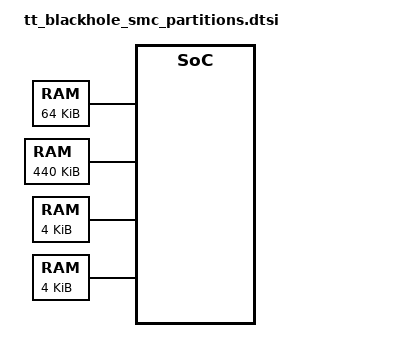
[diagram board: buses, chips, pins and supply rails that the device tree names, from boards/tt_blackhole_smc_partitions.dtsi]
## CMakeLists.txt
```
# SPDX-License-Identifier: Apache-2.0

cmake_minimum_required(VERSION 3.13.1)
find_package(Zephyr REQUIRED HINTS $ENV{ZEPHYR_BASE})

project(app LANGUAGES C)

include(${CMAKE_CURRENT_LIST_DIR}/../../cmake/git_version.cmake)

target_include_directories(app PRIVATE ${ZEPHYR_TT_SYSTEM_FIRMWARE_MODULE_DIR}/lib/tenstorrent/bh_arc)
target_include_directories(app PRIVATE ${CMAKE_BINARY_DIR}/modules/tt-system-firmware/drivers/misc/bh_fwtable/spirom_protobufs)
add_dependencies(app nanopb_generated_headers)
target_sources(app PRIVATE src/main.c)
```

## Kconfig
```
# Copyright (c) 2021 Nordic Semiconductor ASA
# SPDX-License-Identifier: Apache-2.0
#
# This file is the application Kconfig entry point. All application Kconfig
# options can be defined here or included via other application Kconfig files.
# You can browse these options using the west targets menuconfig (terminal) or
# guiconfig (GUI).

menu "Zephyr"
source "Kconfig.zephyr"
endmenu

menu "App"

module = APP
module-str = APP
source "subsys/logging/Kconfig.template.log_config"

endmenu
```

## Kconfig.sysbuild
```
# Copyright (c) 2025 Tenstorrent AI ULC
#
# SPDX-License-Identifier: Apache-2.0

source "share/sysbuild/Kconfig"

config DMC_BOARD
	string "DMC Board"
	default "tt_blackhole@p150a/tt_blackhole/dmc" if $(BOARD_REVISION) = "p150a"
	default "tt_blackhole@p150b/tt_blackhole/dmc" if $(BOARD_REVISION) = "p150b"
	default "tt_blackhole@p150c/tt_blackhole/dmc" if $(BOARD_REVISION) = "p150c"
	default "tt_blackhole@p100a/tt_blackhole/dmc" if $(BOARD_REVISION) = "p100a"
	default "tt_blackhole@p300a/tt_blackhole/dmc" if $(BOARD_REVISION) = "p300a"
	default "tt_blackhole@p300b/tt_blackhole/dmc" if $(BOARD_REVISION) = "p300b"
	default "tt_blackhole@p300c/tt_blackhole/dmc" if $(BOARD_REVISION) = "p300c"
	default "tt_blackhole@orion_slt/tt_blackhole/dmc" if $(BOARD_REVISION) = "orion_slt"
```

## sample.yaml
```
sample:
  description: Tenstorrent Blackhole Chip Management Firmware
  name: bh-cmfw
common:
  timeout: 180
  platform_allow:
    - tt_blackhole@p100a/tt_blackhole/smc
    - tt_blackhole@p150a/tt_blackhole/smc
    - tt_blackhole@p300a/tt_blackhole/smc
tests:
  app.default: {}
  app.e2e-smoke-flash:
    tags: e2e-flash
    timeout: 720 # 12 minutes
    harness: pytest
    sysbuild: true
    harness_config:
      pytest_root:
        - pytest/e2e_smoke.py
      pytest_args:
        - "--dut-scope=session"
    extra_args:
      - dmc_CONFIG_DMC_RUN_SMBUS_TESTS=y
  app.recovery:
    build_only: true
    extra_overlay_confs:
      - sysbuild/recovery.conf
  app.recovery-flash:
    sysbuild: true
    tags: recovery
    harness: pytest
    harness_config:
      pytest_root:
        - pytest/recovery.py
      pytest_args:
        - "--dut-scope=session"
  app.vuart-bh-1x:
    tags: e2e
    depends_on: bh_1x
    harness: pytest
    harness_config:
      pytest_root:
        - pytest/vuart.py
      pytest_args:
        - "--dut-scope=session"
  app.vuart-bh-2x:
    tags: e2e
    depends_on: bh_2x
    harness: pytest
    harness_config:
      pytest_root:
        - pytest/vuart.py
      pytest_args:
        - "--dut-scope=session"
        - "--asic-id=1"
  app.stress-test:
    # Budget 3 hours for stress testing. Any more and we should consider reducing test coverage
    # nightly, as CI machines might not be available for PR efforts
    timeout: 10800
    tags: e2e-stress
    platform_allow:
      - tt_blackhole@p100a/tt_blackhole/smc
      - tt_blackhole@p150a/tt_blackhole/smc
      - tt_blackhole@p150b/tt_blackhole/smc
      - tt_blackhole@p300a/tt_blackhole/smc
      - tt_blackhole@galaxy/tt_blackhole/smc
    harness: pytest
    sysbuild: true
    extra_args:
      - dmc_CONFIG_DMC_RUN_SMBUS_TESTS=y
    harness_config:
      pytest_root:
        - pytest/e2e_stress.py
      pytest_args:
        - "--dut-scope=session"
      record:
        regex:
          - >-
            INFO: (?P<test_name>.*) completed.
            Failed (?P<fail_count>\d+)/(?P<total_tries>\d+) times.
  # Runs production firmware tests when compiled with CONFIG_ASSERT=y
  app.e2e-prod-assert:
    tags: e2e-stress
    timeout: 720 # 12 minutes
    harness: pytest
    sysbuild: true
    harness_config:
      pytest_root:
        - pytest/e2e_smoke.py
      pytest_args:
        - "--dut-scope=session"
    extra_args:
      - dmc_CONFIG_DMC_RUN_SMBUS_TESTS=y
      - CONFIG_ASSERT=y
  app.tracing:
    build_only: true
    sysbuild: true
    tags:
      - e2e-flash
      - build-ci
    extra_overlay_confs:
      - tracing.conf
    extra_args:
      - EXTRA_DTC_OVERLAY_FILE=tracing.overlay
  app.tt_shell:
    build_only: true
    sysbuild: false
    tags:
      - build-ci
    extra_configs:
      - CONFIG_SHELL=y
```

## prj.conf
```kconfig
# logging
CONFIG_LOG=y
CONFIG_TT_APP_LOG_LEVEL_INF=y

CONFIG_ARC_USE_UNALIGNED_MEM_ACCESS=y
CONFIG_HW_STACK_PROTECTION=n
CONFIG_SYS_CLOCK_TICKS_PER_SEC=100000
CONFIG_TICKLESS_KERNEL=y

# I2C
CONFIG_MULTI_LEVEL_INTERRUPTS=y
CONFIG_I2C_DW=y
CONFIG_I2C=y
CONFIG_I2C_TARGET=y
CONFIG_SMBUS=y
CONFIG_SMBUS_TARGET=y

# PVT sensor driver
CONFIG_SENSOR=y
CONFIG_RTIO=y
CONFIG_SENSOR_ASYNC_API=y

# stack
# These default to 1024 on ARC.
CONFIG_SYSTEM_WORKQUEUE_STACK_SIZE=2048

# Disable printing the default Zephyr boot banner
CONFIG_BOOT_BANNER=n
# Print the Tenstorrent boot banner + git version on startup
CONFIG_TT_BOOT_BANNER=y
CONFIG_TT_BOOT_BANNER_SDK_VERSION=y

# Enable FPU with context switching
CONFIG_FPU=y
CONFIG_FPU_SHARING=y

# Select ramload with revert mode
CONFIG_BOOTLOADER_MCUBOOT=y
CONFIG_MCUBOOT_BOOTLOADER_MODE_RAM_LOAD_WITH_REVERT=y

# Enable the flash manager so we can confirm the image
CONFIG_FLASH=y
CONFIG_FLASH_MAP=y
CONFIG_STREAM_FLASH=y
CONFIG_IMG_MANAGER=y
CONFIG_MCUBOOT_IMG_MANAGER=y

# Enable retained memory and retention
CONFIG_RETAINED_MEM=y
CONFIG_RETENTION=y
CONFIG_RETAINED_MEM_ZEPHYR_RAM=y
CONFIG_RETENTION_BOOTLOADER_INFO=y
CONFIG_RETENTION_BOOTLOADER_INFO_TYPE_MCUBOOT=y

# Generate unsigned images by default
# To sign FW, use SB_CONFIG_BOOT_SIGNATURE_KEY_FILE="/path/to/key.pem"
CONFIG_MCUBOOT_GENERATE_UNSIGNED_IMAGE=y

# Enable the Zbus notification/observer subsystem.
CONFIG_ZBUS=y
CONFIG_ZBUS_RUNTIME_OBSERVERS_NODE_ALLOC_NONE=y

# Binary descriptors for firmware version
CONFIG_BINDESC=y
CONFIG_BINDESC_DEFINE=y
CONFIG_BINDESC_DEFINE_VERSION=y
CONFIG_BINDESC_APP_VERSION_STRING=y
CONFIG_TT_BINDESC=y
```

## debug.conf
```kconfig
# Copyright (c) 2021 Nordic Semiconductor ASA
# Copyright (c) 2024 Tenstorrent, Inc.
# SPDX-License-Identifier: Apache-2.0
#
# This is a Kconfig fragment which can be used to enable debug-related options
# in the application. See the README for more details.

# compiler
CONFIG_DEBUG_OPTIMIZATIONS=y

# console
CONFIG_CONSOLE=y

# logging
CONFIG_LOG=y
CONFIG_APP_LOG_LEVEL_DBG=y
```

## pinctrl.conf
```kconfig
# Preferably enabled at the driver level. Included here to demonstrate continuity of build.
CONFIG_PINCTRL=y
```

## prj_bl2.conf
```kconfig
# logging
CONFIG_LOG=y
CONFIG_TT_APP_LOG_LEVEL_INF=y

CONFIG_ARC_USE_UNALIGNED_MEM_ACCESS=y
CONFIG_HW_STACK_PROTECTION=n
CONFIG_SYS_CLOCK_TICKS_PER_SEC=1000

# I2C
CONFIG_MULTI_LEVEL_INTERRUPTS=y
CONFIG_I2C_DW=y
CONFIG_I2C=y
CONFIG_I2C_TARGET=y
CONFIG_SMBUS=y
CONFIG_SMBUS_TARGET=y

# PVT sensor driver
CONFIG_SENSOR=y
CONFIG_RTIO=y
CONFIG_SENSOR_ASYNC_API=y

# protobufs
CONFIG_NANOPB=y

# stack
# These default to 1024 on ARC.
CONFIG_SYSTEM_WORKQUEUE_STACK_SIZE=2048

# Disable printing the default Zephyr boot banner
CONFIG_BOOT_BANNER=n
# Print the Tenstorrent boot banner + git version on startup
CONFIG_TT_BOOT_BANNER=y
CONFIG_TT_BOOT_BANNER_GIT_VERSION=y
CONFIG_TT_BOOT_BANNER_SDK_VERSION=y

# Enable FPU with context switching
CONFIG_FPU=y
CONFIG_FPU_SHARING=y

# Select ramload with revert mode
CONFIG_BOOTLOADER_MCUBOOT=y
CONFIG_MCUBOOT_BOOTLOADER_MODE_RAM_LOAD_WITH_REVERT=y

# Enable the flash manager so we can confirm the image
CONFIG_FLASH=y
CONFIG_FLASH_MAP=y
CONFIG_STREAM_FLASH=y
CONFIG_IMG_MANAGER=y
CONFIG_MCUBOOT_IMG_MANAGER=y

# Enable retained memory and retention
CONFIG_RETAINED_MEM=y
CONFIG_RETENTION=y
CONFIG_RETAINED_MEM_ZEPHYR_RAM=y
CONFIG_RETENTION_BOOTLOADER_INFO=y
CONFIG_RETENTION_BOOTLOADER_INFO_TYPE_MCUBOOT=y
```

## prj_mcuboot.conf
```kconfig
# console
CONFIG_CONSOLE=y
CONFIG_RAM_CONSOLE=y

# backlog of library drivers
CONFIG_TT_BH_ARC=y
CONFIG_TT_BOOT_FS=y

# logging
CONFIG_LOG=y
CONFIG_TT_APP_LOG_LEVEL_INF=y

CONFIG_ARC_USE_UNALIGNED_MEM_ACCESS=y
CONFIG_HW_STACK_PROTECTION=n
CONFIG_SYS_CLOCK_TICKS_PER_SEC=1000

# I2C
CONFIG_MULTI_LEVEL_INTERRUPTS=y
CONFIG_I2C_DW=y
CONFIG_I2C=y
CONFIG_I2C_TARGET=y
CONFIG_SMBUS=y

# protobufs
CONFIG_NANOPB=y

# stack
# These default to 1024 on ARC.
CONFIG_MAIN_STACK_SIZE=2048
CONFIG_SYSTEM_WORKQUEUE_STACK_SIZE=2048

# Disable printing the default Zephyr boot banner
CONFIG_BOOT_BANNER=n
# Print the Tenstorrent boot banner + git version on startup
CONFIG_TT_BOOT_BANNER=y
CONFIG_TT_BOOT_BANNER_GIT_VERSION=y
CONFIG_TT_BOOT_BANNER_SDK_VERSION=y

# Select ramload with revert mode
CONFIG_BOOTLOADER_MCUBOOT=y
CONFIG_MCUBOOT_BOOTLOADER_MODE_RAM_LOAD_WITH_REVERT=y
CONFIG_MCUBOOT_SIGNATURE_KEY_FILE="bootloader/mcuboot/root-rsa-2048.pem"

# Enable the flash manager so we can confirm the image
CONFIG_FLASH=y
CONFIG_FLASH_MAP=y
CONFIG_STREAM_FLASH=y
CONFIG_IMG_MANAGER=y
CONFIG_MCUBOOT_IMG_MANAGER=y

# Enable retained memory and retention
CONFIG_RETAINED_MEM=y
CONFIG_RETENTION=y
CONFIG_RETAINED_MEM_ZEPHYR_RAM=y
CONFIG_RETENTION_BOOTLOADER_INFO=y
CONFIG_RETENTION_BOOTLOADER_INFO_TYPE_MCUBOOT=y
```

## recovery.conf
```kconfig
CONFIG_TT_SMC_RECOVERY=y
CONFIG_MEMC=n
```

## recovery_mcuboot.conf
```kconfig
CONFIG_TT_SMC_RECOVERY=y
# Use a lower version, so this image is never preferred over the main image
CONFIG_MCUBOOT_IMGTOOL_SIGN_VERSION="0.0.0+0"
```

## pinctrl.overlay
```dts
/*
 * Copyright (c) 2024 Tenstorrent AI ULC
 *
 * SPDX-License-Identifier: Apache-2.0
 */

&uart0 {
	pinctrl-0 = <&uart0_tx_default &uart0_rx_default>;
	pinctrl-names = "default";
	clock-frequency = <800000000>;
	status = "okay";
};

&pinctrl {
	status = "okay";
};
```

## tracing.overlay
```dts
/*
 * Copyright (c) 2024 Tenstorrent AI ULC
 *
 * SPDX-License-Identifier: Apache-2.0
 */

/ {
	chosen {
		zephyr,tracing-uart = &vuart1;
	};
};

&vuart1 {
	status = "okay";
	tx-cap = <131072>;
};

/*
 * Slow SPI flash frequency. Otherwise programming will fail with
 * additional tracing overhead
 */
&spi_flash {
	mspi-max-frequency = <DT_FREQ_M(4)>;
};
```

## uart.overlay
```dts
/*
 * Copyright (c) 2024 Tenstorrent AI ULC
 *
 * SPDX-License-Identifier: Apache-2.0
 */

&uart0 {
	status = "okay";
};
```

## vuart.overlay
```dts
/*
 * Copyright (c) 2024 Tenstorrent AI ULC
 *
 * SPDX-License-Identifier: Apache-2.0
 */

/ {
	chosen {
		zephyr,console = &vuart0;
		zephyr,shell-uart = &vuart0;
	};

	vuarts {
		#address-cells = <1>;
		#size-cells = <0>;
		vuart0: uart_tt_virt@0 {
			compatible = "tenstorrent,vuart";
			version = <0x00000000>;
			reg = <0x0>;
			status = "disabled";
		};
	};
};

&uart0 {
	status = "disabled";
};

&vuart0 {
	status = "okay";
};
```

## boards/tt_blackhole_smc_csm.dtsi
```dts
/*
 * Copyright (c) 2025 Tenstorrent AI ULC
 *
 * SPDX-License-Identifier: Apache-2.0
 */

/*
 * This file defines divisions of the CSM SRAM for the Blackhole SMC board.
 * It should be included by the MCUBoot image as well as the application image.
 */

/ {
	chosen {
		zephyr,bootloader-info = &boot_info0;
	};

	csm_bootloader: memory@10000000 {
		compatible = "zephyr,memory-region", "mmio-sram";
		zephyr,memory-region = "CSM-MCUBOOT";
		device_type = "memory";
		reg = <0x10000000 0x10000>; /* 64  KiB for MCUBoot */
	};

	csm_app: memory@10010000 {
		compatible = "zephyr,memory-region", "mmio-sram";
		zephyr,memory-region = "CSM-APP";
		device_type = "memory";
		reg = <0x10010000 0x6f000>; /* 444 KiB for application */
	};

	csm_shared: memory@1007f000 {
		compatible = "zephyr,memory-region", "mmio-sram";
		zephyr,memory-region = "CSM-SHARED";
		device_type = "memory";
		reg = <0x1007f000 0x1000>; /* 4 KiB for shared memory */

		retainedmem {
			compatible = "zephyr,retained-ram";
			status = "okay";
			#address-cells = <1>;
			#size-cells = <1>;

			boot_info0: boot_info@0 {
				compatible = "zephyr,retention";
				status = "okay";
				reg = <0x0 0x100>;
			};
		};
	};
};
```

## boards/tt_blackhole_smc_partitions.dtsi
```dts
/*
 * Copyright (c) 2025 Tenstorrent AI ULC
 *
 * SPDX-License-Identifier: Apache-2.0
 */

/*
 * This file defines divisions of the CSM SRAM for the Blackhole SMC board,
 * It should be included by the MCUBoot image as well as the application image.
 */

/* Assign the partition labels MCUBoot expects */
mcuboot: &cmfw {};

slot0_partition: &smc_main_image {};

slot1_partition: &smc_recovery {};

/ {
	chosen {
		zephyr,bootloader-info = &boot_info0;
	};

	csm_bootloader: memory@10000000 {
		compatible = "zephyr,memory-region", "mmio-sram";
		zephyr,memory-region = "CSM-MCUBOOT";
		device_type = "memory";
		reg = <0x10000000 0x10000>; /* 64  KiB for MCUBoot */
	};

	csm_app: memory@10010000 {
		compatible = "zephyr,memory-region", "mmio-sram";
		zephyr,memory-region = "CSM-APP";
		device_type = "memory";
		reg = <0x10010000 0x6e000>; /* 440 KiB for application */
	};

	csm_persistent: memory@1007e000 {
		compatible = "zephyr,memory-region", "mmio-sram";
		zephyr,memory-region = "CSM-PERSISTENT";
		device_type = "memory";
		reg = <0x1007e000 0x1000>; /* 4 KiB for persistent storage */
	};

	csm_shared: memory@1007f000 {
		compatible = "zephyr,memory-region", "mmio-sram";
		zephyr,memory-region = "CSM-SHARED";
		device_type = "memory";
		reg = <0x1007f000 0x1000>; /* 4 KiB for shared memory */

		retainedmem {
			compatible = "zephyr,retained-ram";
			status = "okay";
			#address-cells = <1>;
			#size-cells = <1>;

			boot_info0: boot_info@0 {
				compatible = "zephyr,retention";
				status = "okay";
				reg = <0x0 0x100>;
			};
		};
	};
};
```

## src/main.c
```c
/*
 * Copyright (c) 2024 Tenstorrent AI ULC
 * SPDX-License-Identifier: Apache-2.0
 */

#include "cm2dm_msg.h"
#include "dvfs.h"
#include "fan_ctrl.h"
#include "init.h"
#include "reg.h"
#include "smbus_target.h"
#include "status_reg.h"
#include "telemetry.h"
#include "timer.h"

#include <stdint.h>

#include <app_version.h>
#include <tenstorrent/msgqueue.h>
#include <tenstorrent/post_code.h>
#include <tenstorrent/sys_init_defines.h>
#include <zephyr/init.h>
#include <zephyr/kernel.h>
#include <zephyr/logging/log.h>
#include <zephyr/drivers/watchdog.h>
#include <zephyr/drivers/misc/bh_fwtable.h>
#include <zephyr/storage/flash_map.h>
#include <zephyr/dfu/mcuboot.h>

LOG_MODULE_REGISTER(main, CONFIG_TT_APP_LOG_LEVEL);

static const struct device *const wdt0 = DEVICE_DT_GET(DT_NODELABEL(wdt0));
static const struct device *const fwtable_dev = DEVICE_DT_GET(DT_NODELABEL(fwtable));

BUILD_ASSERT(FIXED_PARTITION_EXISTS(cmfw), "cmfw fixed-partition does not exist");

int main(void)
{
	SetPostCode(POST_CODE_SRC_CMFW, POST_CODE_ZEPHYR_INIT_DONE);
	LOG_INF("Tenstorrent Blackhole CMFW %s", APP_VERSION_STRING);

	if (!IS_ENABLED(CONFIG_TT_SMC_RECOVERY)) {
		if (tt_bh_fwtable_get_fw_table(fwtable_dev)->feature_enable.aiclk_ppm_en) {
			STATUS_ERROR_STATUS0_reg_u error_status0 = {
				.val = ReadReg(STATUS_ERROR_STATUS0_REG_ADDR)};

			if (error_status0.f.regulator_init_error) {
				LOG_ERR("Not enabling AICLK PPM due to regulator init error");
			} else {
				/* DVFS should get enabled if AICLK PPM or L2CPUCLK PPM is enabled
				 * We currently don't have plans to implement L2CPUCLK PPM,
				 * so currently, dvfs_enable == aiclk_ppm_enable
				 */
				InitDVFS();
			}
		}
	}

	init_msgqueue();

	if (!IS_ENABLED(CONFIG_TT_SMC_RECOVERY)) {
		init_telemetry(APPVERSION);
		if (tt_bh_fwtable_get_fw_table(fwtable_dev)->feature_enable.fan_ctrl_en) {
			init_fan_ctrl();
		}

		/* These timers are split out from their init functions since their work tasks have
		 * i2c conflicts with other init functions.
		 *
		 * Note: The above issue would be solved by using Zephyr's driver model.
		 */
		StartTelemetryTimer();
		if (dvfs_enabled) {
			StartDVFSTimer();
		}
	}

	Dm2CmReadyRequest();

#ifdef CONFIG_BOOTLOADER_MCUBOOT
	int rc;

	/* For now, if we make it here than we passed the BIST and will confirm the image */
	if (!boot_is_img_confirmed()) {
		rc = boot_write_img_confirmed();
		if (rc < 0) {
			return rc;
		}
		printk("Firmware update is confirmed.\n");
	}
#endif

	while (1) {
		sys_trace_named_event("main_loop", TimerTimestamp(), 0);
		k_msleep(CONFIG_TT_BH_ARC_WDT_FEED_INTERVAL);
		wdt_feed(wdt0, 0);
	}

	return 0;
}

#define FW_VERSION_SEMANTIC APPVERSION
#define FW_VERSION_DATE     0x00000000
#define FW_VERSION_LOW      0x00000000
#define FW_VERSION_HIGH     0x00000000

uint32_t FW_VERSION[4] __attribute__((section(".fw_version"))) = {
	FW_VERSION_SEMANTIC, FW_VERSION_DATE, FW_VERSION_LOW, FW_VERSION_HIGH};

static int tt_appversion_init(void)
{
	WriteReg(STATUS_FW_VERSION_REG_ADDR, APPVERSION);
	return 0;
}
SYS_INIT(tt_appversion_init, EARLY, 0);

static int record_cmfw_start_time(void)
{
	WriteReg(CMFW_START_TIME_REG_ADDR, TimerTimestamp());
	return 0;
}
SYS_INIT(record_cmfw_start_time, EARLY, 0);

static int bh_arc_init_start(void)
{
	/* Write a status register indicating HW init progress */
	STATUS_BOOT_STATUS0_reg_u boot_status0 = {0};

	boot_status0.val = ReadReg(STATUS_BOOT_STATUS0_REG_ADDR);
	boot_status0.f.hw_init_status = kHwInitStarted;
	WriteReg(STATUS_BOOT_STATUS0_REG_ADDR, boot_status0.val);

	SetPostCode(POST_CODE_SRC_CMFW, POST_CODE_ARC_INIT_STEP1);
	SetPostCode(POST_CODE_SRC_CMFW, POST_CODE_ARC_INIT_STEP2);

	return 0;
}
SYS_INIT_APP(bh_arc_init_start);

int tt_init_status;

static int bh_arc_init_end(void)
{
	STATUS_BOOT_STATUS0_reg_u boot_status0 = {0};

	/* Indicate successful HW Init */
	boot_status0.val = ReadReg(STATUS_BOOT_STATUS0_REG_ADDR);
	/* Record FW ID */
	if (IS_ENABLED(CONFIG_TT_SMC_RECOVERY)) {
		boot_status0.f.fw_id = FW_ID_SMC_RECOVERY;
	} else {
		boot_status0.f.fw_id = FW_ID_SMC_NORMAL;
	}
	boot_status0.f.hw_init_status = (tt_init_status == 0) ? kHwInitDone : kHwInitError;
	WriteReg(STATUS_BOOT_STATUS0_REG_ADDR, boot_status0.val);
	WriteReg(STATUS_ERROR_STATUS0_REG_ADDR, error_status0.val);

	return 0;
}
SYS_INIT_APP(bh_arc_init_end);
```

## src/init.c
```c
/*
 * Copyright (c) 2024 Tenstorrent AI ULC
 * SPDX-License-Identifier: Apache-2.0
 */

#include "init.h"

#include <stdint.h>
#include <stdlib.h>
#include <zephyr/kernel.h>
#include <app_version.h>
#include <tenstorrent/post_code.h>

#include "avs.h"
#include "cat.h"
#include "reg.h"
#include "init_common.h"
#include "regulator.h"
#include "status_reg.h"
#include "pll.h"
#include "pvt.h"
#include "pcie.h"
#include "noc.h"
#include "noc_init.h"
#include "tt_boot_fs.h"
#include "gddr.h"
#include "smbus_target.h"
#include "serdes_eth.h"
#include "eth.h"
#include "gddr.h"
#include "tensix_cg.h"
#include "fw_table.h"
#include "read_only_table.h"
#include "flash_info_table.h"
#include "harvesting.h"

static uint8_t large_sram_buffer[SCRATCHPAD_SIZE] __aligned(4);

/* Assert soft reset for all RISC-V cores */
/* L2CPU is skipped due to JIRA issues BH-25 and BH-28 */
static void AssertSoftResets(void)
{
	const uint8_t kNocRing = 0;
	const uint8_t kNocTlb = 0;
	const uint32_t kSoftReset0Addr = 0xFFB121B0; /* NOC address in each tile */
	const uint32_t kAllRiscSoftReset = 0x47800;

	/* Broadcast to SOFT_RESET_0 of all Tensixes */
	/* Harvesting is handled by broadcast disables of NocInit */
	NOC2AXITensixBroadcastTlbSetup(kNocRing, kNocTlb, kSoftReset0Addr, kNoc2AxiOrderingStrict);
	NOC2AXIWrite32(kNocRing, kNocTlb, kSoftReset0Addr, kAllRiscSoftReset);

	/* TODO: Handle harvesting for ETH and GDDR (don't touch harvested tiles) */
	/* Broadcast to SOFT_RESET_0 of ETH */
	for (uint8_t eth_inst = 0; eth_inst < 14; eth_inst++) {
		uint8_t x, y;

		GetEthNocCoords(eth_inst, kNocRing, &x, &y);
		NOC2AXITlbSetup(kNocRing, kNocTlb, x, y, kSoftReset0Addr);
		NOC2AXIWrite32(kNocRing, kNocTlb, kSoftReset0Addr, kAllRiscSoftReset);
	}

	/* Broadcast to SOFT_RESET_0 of GDDR */
	/* Note that there are 3 NOC nodes for each GDDR instance */
	for (uint8_t gddr_inst = 0; gddr_inst < 8; gddr_inst++) {
		for (uint8_t noc_node_inst = 0; noc_node_inst < 3; noc_node_inst++) {
			uint8_t x, y;

			GetGddrNocCoords(gddr_inst, noc_node_inst, kNocRing, &x, &y);
			NOC2AXITlbSetup(kNocRing, kNocTlb, x, y, kSoftReset0Addr);
			NOC2AXIWrite32(kNocRing, kNocTlb, kSoftReset0Addr, kAllRiscSoftReset);
		}
	}
}

/* Deassert RISC reset from reset_unit for all RISC-V cores */
/* L2CPU is skipped due to JIRA issues BH-25 and BH-28 */
static void DeassertRiscvResets(void)
{
	/* TODO: Handle harvesting (keep RISC-V cores of harvested tiles in reset) */

	for (uint32_t i = 0; i < 8; i++) {
		WriteReg(RESET_UNIT_TENSIX_RISC_RESET_0_REG_ADDR + i * 4, 0xffffffff);
	}

	RESET_UNIT_ETH_RESET_reg_u eth_reset;

	eth_reset.val = ReadReg(RESET_UNIT_ETH_RESET_REG_ADDR);
	eth_reset.f.eth_risc_reset_n = 0x3fff;
	WriteReg(RESET_UNIT_ETH_RESET_REG_ADDR, eth_reset.val);

	RESET_UNIT_DDR_RESET_reg_u ddr_reset;

	ddr_reset.val = ReadReg(RESET_UNIT_DDR_RESET_REG_ADDR);
	ddr_reset.f.ddr_risc_reset_n = 0xffffff;
	WriteReg(RESET_UNIT_DDR_RESET_REG_ADDR, ddr_reset.val);
}

static void InitMrisc(void)
{
	const char kMriscFwCfgTag[IMAGE_TAG_SIZE] = "memfwcfg";
	const char kMriscFwTag[IMAGE_TAG_SIZE] = "memfw";
	uint32_t fw_size = 0;

	for (uint8_t gddr_inst = 0; gddr_inst < 8; gddr_inst++) {
		for (uint8_t noc2axi_port = 0; noc2axi_port < 3; noc2axi_port++) {
			SetAxiEnable(gddr_inst, noc2axi_port, true);
		}
	}

	if (load_bin_by_tag(&boot_fs_data, kMriscFwTag, large_sram_buffer, SCRATCHPAD_SIZE,
			    &fw_size) != TT_BOOT_FS_OK) {
		/* Error */
		/* TODO: Handle this more gracefully */
		return;
	}

	for (uint8_t gddr_inst = 0; gddr_inst < 8; gddr_inst++) {
		LoadMriscFw(gddr_inst, large_sram_buffer, fw_size);
	}

	if (load_bin_by_tag(&boot_fs_data, kMriscFwCfgTag, large_sram_buffer, SCRATCHPAD_SIZE,
			    &fw_size) != TT_BOOT_FS_OK) {
		/* Error */
		/* TODO: Handle this more gracefully */
		return;
	}

	uint32_t gddr_speed = GetGddrSpeedFromCfg(large_sram_buffer);

	if (!IN_RANGE(gddr_speed, MIN_GDDR_SPEED, MAX_GDDR_SPEED)) {
		/* Error */
		/* TODO: Handle this more gracefully */
		return;
	}

	if (SetGddrMemClk(gddr_speed / GDDR_SPEED_TO_MEMCLK_RATIO)) {
		/* Error */
		/* TODO: Handle this more gracefully */
		return;
	}

	for (uint8_t gddr_inst = 0; gddr_inst < 8; gddr_inst++) {
		LoadMriscFwCfg(gddr_inst, large_sram_buffer, fw_size);
		ReleaseMriscReset(gddr_inst);
	}

	/* TODO: Check for MRISC FW success / failure */
}

static void SerdesEthInit(void)
{
	uint32_t ring = 0;

	uint32_t load_serdes = BIT(2) | BIT(5); /* Serdes 2, 5 are always for ETH */
	/* Select the other ETH Serdes instances based on pcie serdes properties */
	if (get_fw_table()->pci0_property_table.pcie_mode ==
	    FwTable_PciPropertyTable_PcieMode_DISABLED) { /* Enable Serdes 0, 1 */
		load_serdes |= BIT(0) | BIT(1);
	} else if (get_fw_table()->pci0_property_table.num_serdes == 1) { /* Just enable Serdes 1 */
		load_serdes |= BIT(1);
	}
	if (get_fw_table()->pci1_property_table.pcie_mode ==
	    FwTable_PciPropertyTable_PcieMode_DISABLED) { /* Enable Serdes 3, 4 */
		load_serdes |= BIT(3) | BIT(4);
	} else if (get_fw_table()->pci1_property_table.num_serdes == 1) { /* Just enable Serdes 4 */
		load_serdes |= BIT(4);
	}

	/* Load fw regs */
	const char kSerdesEthFwRegsTag[IMAGE_TAG_SIZE] = "ethsdreg";
	uint32_t reg_table_size = 0;

	if (load_bin_by_tag(&boot_fs_data, kSerdesEthFwRegsTag, large_sram_buffer, SCRATCHPAD_SIZE,
			    &reg_table_size) != TT_BOOT_FS_OK) {
		/* Error */
		/* TODO: Handle more gracefully */
		return;
	}

	for (uint8_t serdes_inst = 0; serdes_inst < 6; serdes_inst++) {
		if (load_serdes & (1 << serdes_inst)) {
			LoadSerdesEthRegs(serdes_inst, ring, (SerdesRegData *)large_sram_buffer,
					  reg_table_size / sizeof(SerdesRegData));
		}
	}

	/* Load fw */
	const char kSerdesEthFwTag[IMAGE_TAG_SIZE] = "ethsdfw";
	uint32_t fw_size = 0;

	if (load_bin_by_tag(&boot_fs_data, kSerdesEthFwTag, large_sram_buffer, SCRATCHPAD_SIZE,
			    &fw_size) != TT_BOOT_FS_OK) {
		/* Error */
		/* TODO: Handle more gracefully */
		return;
	}

	for (uint8_t serdes_inst = 0; serdes_inst < 6; serdes_inst++) {
		if (load_serdes & (1 << serdes_inst)) {
			LoadSerdesEthFw(serdes_inst, ring, large_sram_buffer, fw_size);
		}
	}
}

static void EthInit(void)
{
	uint32_t ring = 0;

	/* Load fw */
	const char kEthFwTag[IMAGE_TAG_SIZE] = "ethfw";
	uint32_t fw_size = 0;

	if (load_bin_by_tag(&boot_fs_data, kEthFwTag, large_sram_buffer, SCRATCHPAD_SIZE,
			    &fw_size) != TT_BOOT_FS_OK) {
		/* Error */
		/* TODO: Handle more gracefully */
		return;
	}

	for (uint8_t eth_inst = 0; eth_inst < MAX_ETH_INSTANCES; eth_inst++) {
		LoadEthFw(eth_inst, ring, large_sram_buffer, fw_size);
	}

	/* Load param table */
	const char kEthFwCfgTag[IMAGE_TAG_SIZE] = "ethfwcfg";

	if (load_bin_by_tag(&boot_fs_data, kEthFwCfgTag, large_sram_buffer, SCRATCHPAD_SIZE,
			    &fw_size) != TT_BOOT_FS_OK) {
		/* Error */
		/* TODO: Handle more gracefully */
		return;
	}

	for (uint8_t eth_inst = 0; eth_inst < MAX_ETH_INSTANCES; eth_inst++) {
		LoadEthFwCfg(eth_inst, ring, large_sram_buffer, fw_size);
		ReleaseEthReset(eth_inst, ring);
	}
}

/* Returns 0 on success, non-zero on failure */
uint32_t InitHW(void)
{
	/* Write a status register indicating HW init progress */
	STATUS_BOOT_STATUS0_reg_u boot_status0 = {0};

	boot_status0.val = ReadReg(STATUS_BOOT_STATUS0_REG_ADDR);
	boot_status0.f.hw_init_status = kHwInitStarted;
	WriteReg(STATUS_BOOT_STATUS0_REG_ADDR, boot_status0.val);

	SetPostCode(POST_CODE_SRC_CMFW, POST_CODE_ARC_INIT_STEP1);

	/* Load FW config, Read Only and Flash Info tables from SPI filesystem */
	/* TODO: Add some kind of error handling if the load fails */
	load_fw_table(large_sram_buffer, SCRATCHPAD_SIZE);
	load_read_only_table(large_sram_buffer, SCRATCHPAD_SIZE);
	load_flash_info_table(large_sram_buffer, SCRATCHPAD_SIZE);

	SetPostCode(POST_CODE_SRC_CMFW, POST_CODE_ARC_INIT_STEP2);
	/* Enable CATMON for early thermal protection */
	CATInit();

	CalculateHarvesting();

	SetPostCode(POST_CODE_SRC_CMFW, POST_CODE_ARC_INIT_STEP3);
	/* Put all PLLs back into bypass, since tile resets need to be deasserted at low speed */
	PLLAllBypass();
	DeassertTileResets();

	SetPostCode(POST_CODE_SRC_CMFW, POST_CODE_ARC_INIT_STEP4);
	/* Init clocks to faster (but safe) levels */
	PLLInit();

	SetPostCode(POST_CODE_SRC_CMFW, POST_CODE_ARC_INIT_STEP5);
	/* Enable Process + Voltage + Thermal monitors */
	PVTInit();

	/* Initialize NOC so we can broadcast to all Tensixes */
	NocInit();

	SetPostCode(POST_CODE_SRC_CMFW, POST_CODE_ARC_INIT_STEP6);
	/* Assert Soft Reset for ERISC, MRISC Tensix (skip L2CPU due to bug) */
	AssertSoftResets();

	SetPostCode(POST_CODE_SRC_CMFW, POST_CODE_ARC_INIT_STEP7);
	/* Go back to PLL bypass, since RISCV resets need to be deasserted at low speed */
	PLLAllBypass();
	/* Deassert RISC reset from reset_unit */
	DeassertRiscvResets();
	PLLInit();

	/* Initialize the serdes based on board type and asic location - data will be in fw_table */
	/* p100: PCIe1 x16 */
	/* p150: PCIe0 x16 */
	/* p300: Left (CPU1) PCIe1 x8, Right (CPU0) PCIe0 x8 */
	/* BH UBB: PCIe1 x8 */
	SetPostCode(POST_CODE_SRC_CMFW, POST_CODE_ARC_INIT_STEP8);
	if (get_fw_table()->pci0_property_table.pcie_mode !=
		    FwTable_PciPropertyTable_PcieMode_DISABLED &&
	    PCIeInitOk == PCIeInit(0, &get_fw_table()->pci0_property_table)) {
		InitResetInterrupt(0);
	}

	if (get_fw_table()->pci1_property_table.pcie_mode !=
		    FwTable_PciPropertyTable_PcieMode_DISABLED &&
	    PCIeInitOk == PCIeInit(1, &get_fw_table()->pci1_property_table)) {
		InitResetInterrupt(1);
	}

	/* TODO: Load MRISC (DRAM RISC) FW to all DRAMs in the middle NOC node */
	SetPostCode(POST_CODE_SRC_CMFW, POST_CODE_ARC_INIT_STEP9);
	InitMrisc();

	/* TODO: Load ERISC (Ethernet RISC) FW to all ethernets (8 of them) */
	SetPostCode(POST_CODE_SRC_CMFW, POST_CODE_ARC_INIT_STEPA);
	SerdesEthInit();
	EthInit();

	SetPostCode(POST_CODE_SRC_CMFW, POST_CODE_ARC_INIT_STEPB);
	InitSmbusTarget();

	/* Initiate AVS interface and switch vout control to AVSBus */
	SetPostCode(POST_CODE_SRC_CMFW, POST_CODE_ARC_INIT_STEPC);
	AVSInit();
	SwitchVoutControl(AVSVoutCommand);

	SetPostCode(POST_CODE_SRC_CMFW, POST_CODE_ARC_INIT_STEPD);
	if (get_fw_table()->feature_enable.cg_en) {
		EnableTensixCG();
	}

	if (get_fw_table()->feature_enable.noc_translation_en) {
		InitNocTranslationFromHarvesting();
	}

	/* Indicate successful HW Init */
	boot_status0.val = ReadReg(STATUS_BOOT_STATUS0_REG_ADDR);
	boot_status0.f.hw_init_status = kHwInitDone;
	WriteReg(STATUS_BOOT_STATUS0_REG_ADDR, boot_status0.val);

	return 0;
}
```

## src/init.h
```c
/*
 * Copyright (c) 2024 Tenstorrent AI ULC
 * SPDX-License-Identifier: Apache-2.0
 */

#ifndef INIT_H
#define INIT_H

#include <stdint.h>

uint32_t InitFW(void);
uint32_t InitHW(void);

#endif
```
